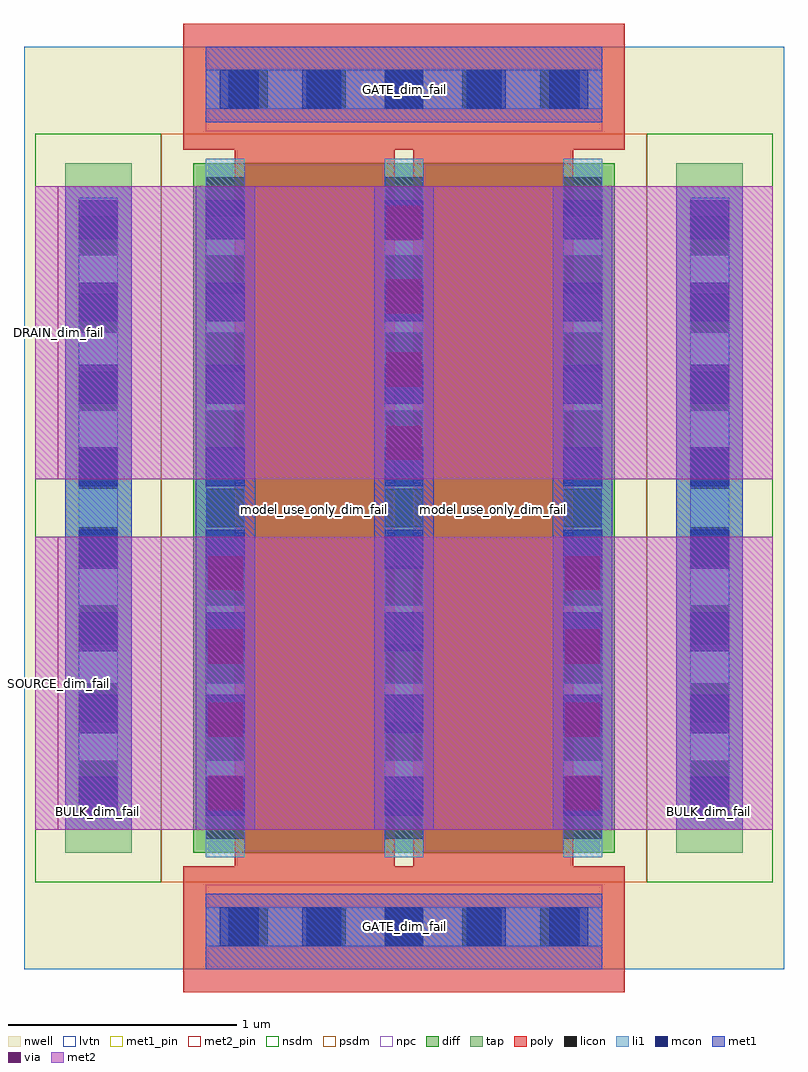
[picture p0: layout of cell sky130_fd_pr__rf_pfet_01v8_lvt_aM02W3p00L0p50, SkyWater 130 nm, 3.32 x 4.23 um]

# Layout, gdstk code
import gdstk
lib = gdstk.Library(unit=1e-6, precision=1e-09)
def R(c, l, rs):  # rectangles x0, y0, x1, y1
    for r in rs: c.add(gdstk.rectangle(r[:2], r[2:], *l))
def A(c, l, x, y, w, h, nx, ny, dx, dy):  # array of equal rectangles
    R(c, l, [(x+i*dx, y+j*dy, x+i*dx+w, y+j*dy+h) for i in range(nx) for j in range(ny)])
def P(c, l, *ps):  # polygons
    for p in ps: c.add(gdstk.Polygon(p, *l))
nwell = (64, 20)
diff = (65, 20)
tap = (65, 44)
poly = (66, 20)
licon = (66, 44)
li1 = (67, 20)
mcon = (67, 44)
met1_pin = (68, 16)
met1 = (68, 20)
via = (68, 44)
met2_pin = (69, 16)
met2 = (69, 20)
nsdm = (93, 44)
psdm = (94, 20)
npc = (95, 20)
lvtn = (125, 44)

sky130_fd_pr__rf_pfet_01 = lib.new_cell('sky130_fd_pr__rf_pfet_01v8_lvt_aM02W3p00L0p50')
R(sky130_fd_pr__rf_pfet_01, nwell, [(0,0,3.32,4.03)])
R(sky130_fd_pr__rf_pfet_01, diff, [(0.74,0.51,2.58,3.52)])
R(sky130_fd_pr__rf_pfet_01, tap, [(0.18,0.51,0.47,3.52), (2.85,0.51,3.14,3.52)])
P(sky130_fd_pr__rf_pfet_01, poly, [(0.695,-0.1),(0.695,0.45),(0.92,0.45),(0.92,3.58),(1.62,3.58),(1.62,0.45),(1.7,0.45),(1.7,3.58),(0.695,3.58),(0.695,4.13),(2.625,4.13),(2.625,3.58),(2.4,3.58),(2.4,0.45),(2.625,0.45),(2.625,-0.1)])
A(sky130_fd_pr__rf_pfet_01, licon, 0.895, 0.1, 0.17, 0.17, 5, 2, 0.34, 3.66)
A(sky130_fd_pr__rf_pfet_01, licon, 0.795, 0.57, 0.17, 0.17, 3, 9, 0.78, 0.34)
A(sky130_fd_pr__rf_pfet_01, licon, 0.24, 0.74, 0.17, 0.17, 1, 8, 0, 0.34)
A(sky130_fd_pr__rf_pfet_01, licon, 2.91, 0.74, 0.17, 0.17, 1, 8, 0, 0.34)
A(sky130_fd_pr__rf_pfet_01, li1, 0.795, 0.49, 0.17, 3.05, 3, 1, 0.78, 0)
A(sky130_fd_pr__rf_pfet_01, li1, 0.795, 0.67, 0.17, 2.69, 3, 1, 0.78, 0)
R(sky130_fd_pr__rf_pfet_01, li1, [(0.795,0.1,2.525,0.27), (0.855,0.1,2.465,0.27), (0.24,0.66,0.41,3.37), (2.91,0.66,3.08,3.37), (0.24,0.67,0.41,3.36), (2.91,0.67,3.08,3.36), (0.795,3.76,2.525,3.93), (0.855,3.76,2.465,3.93)])
A(sky130_fd_pr__rf_pfet_01, mcon, 0.855, 0.1, 0.17, 0.17, 5, 2, 0.36, 3.66)
A(sky130_fd_pr__rf_pfet_01, mcon, 0.24, 0.67, 0.17, 0.17, 1, 8, 0, 0.36)
A(sky130_fd_pr__rf_pfet_01, mcon, 0.795, 0.67, 0.17, 0.17, 3, 8, 0.78, 0.36)
A(sky130_fd_pr__rf_pfet_01, mcon, 2.91, 0.67, 0.17, 0.17, 1, 8, 0, 0.36)
R(sky130_fd_pr__rf_pfet_01, met1_pin, [(0.795,0,2.525,0.33), (0.18,0.61,0.47,0.69), (2.85,0.61,3.14,0.69), (0.795,3.7,2.525,4.03)])
A(sky130_fd_pr__rf_pfet_01, met1, 0.75, 0.61, 0.26, 2.81, 3, 1, 0.78, 0)
R(sky130_fd_pr__rf_pfet_01, met1, [(0.795,0,2.525,0.33), (0.18,0.61,0.47,3.42), (0.75,0.61,1.01,1.89), (2.31,0.61,2.57,1.89), (2.85,0.61,3.14,3.42), (1.53,2.14,1.79,3.42), (0.795,3.7,2.525,4.03)])
A(sky130_fd_pr__rf_pfet_01, via, 0.805, 0.695, 0.15, 0.15, 1, 4, 0, 0.32)
A(sky130_fd_pr__rf_pfet_01, via, 2.365, 0.695, 0.15, 0.15, 1, 4, 0, 0.32)
A(sky130_fd_pr__rf_pfet_01, via, 1.585, 2.225, 0.15, 0.15, 1, 4, 0, 0.32)
R(sky130_fd_pr__rf_pfet_01, met2_pin, [(0.05,0.61,0.15,1.89), (0.05,2.14,0.15,3.42)])
R(sky130_fd_pr__rf_pfet_01, met2, [(0.05,0.61,3.27,1.89), (0.75,0.61,1.01,1.89), (2.31,0.61,2.57,1.89), (0.05,2.14,3.27,3.42), (1.53,2.14,1.79,3.42)])
R(sky130_fd_pr__rf_pfet_01, nsdm, [(0.05,0.38,0.6,3.65), (2.72,0.38,3.27,3.65)])
R(sky130_fd_pr__rf_pfet_01, psdm, [(0.6,0.38,2.72,3.65)])
R(sky130_fd_pr__rf_pfet_01, npc, [(0.795,0,2.525,0.37), (0.795,3.66,2.525,4.03)])
R(sky130_fd_pr__rf_pfet_01, lvtn, [(0,0,3.32,4.03)])
sky130_fd_pr__rf_pfet_01.add(gdstk.Label('model_use_only_dim_fail', (1.27,2.01), layer=66, texttype=83))
sky130_fd_pr__rf_pfet_01.add(gdstk.Label('model_use_only_dim_fail', (2.05,2.01), layer=66, texttype=83))
sky130_fd_pr__rf_pfet_01.add(gdstk.Label('SOURCE_dim_fail', (0.15,1.25), layer=69, texttype=5))
sky130_fd_pr__rf_pfet_01.add(gdstk.Label('DRAIN_dim_fail', (0.15,2.78), layer=69, texttype=5))
sky130_fd_pr__rf_pfet_01.add(gdstk.Label('GATE_dim_fail', (1.66,3.845), layer=68, texttype=5))
sky130_fd_pr__rf_pfet_01.add(gdstk.Label('GATE_dim_fail', (1.66,0.185), layer=68, texttype=5))
sky130_fd_pr__rf_pfet_01.add(gdstk.Label('BULK_dim_fail', (2.99,0.69), layer=68, texttype=5))
sky130_fd_pr__rf_pfet_01.add(gdstk.Label('BULK_dim_fail', (0.32,0.69), layer=68, texttype=5))

lib.write_gds('sky130_fd_pr__rf_pfet_01v8_lvt_aM02W3p00L0p50.gds')
